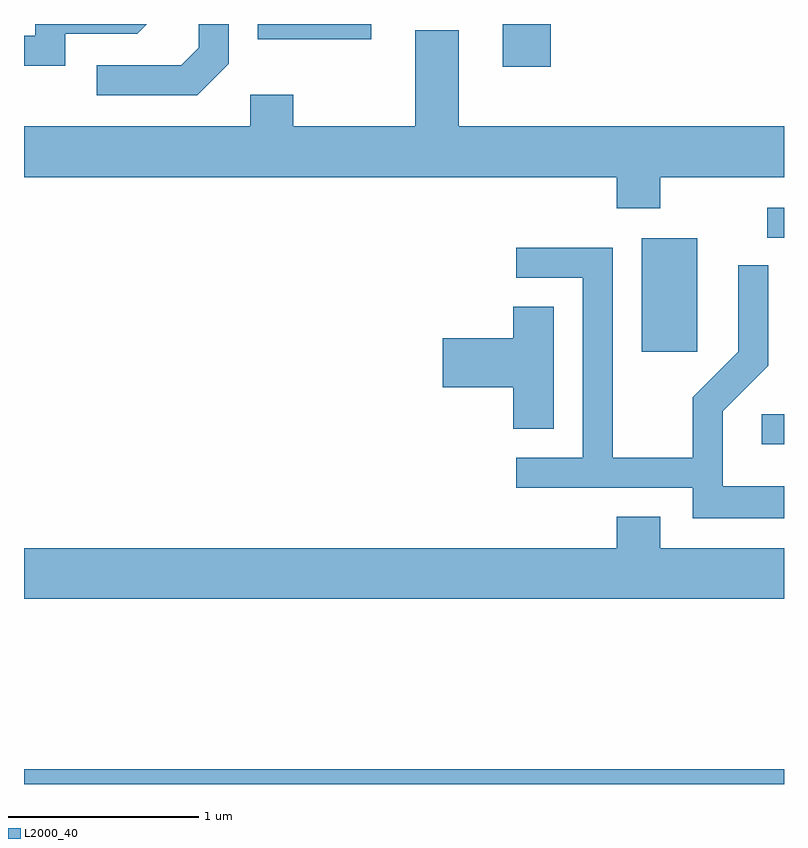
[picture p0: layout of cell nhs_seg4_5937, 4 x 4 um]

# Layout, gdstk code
import gdstk
lib = gdstk.Library(unit=1e-6, precision=1e-09)
def R(c, l, rs):  # rectangles x0, y0, x1, y1
    for r in rs: c.add(gdstk.rectangle(r[:2], r[2:], *l))
def P(c, l, *ps):  # polygons
    for p in ps: c.add(gdstk.Polygon(p, *l))
L2000_40 = (2000, 40)

nhs_seg4_5937 = lib.new_cell('nhs_seg4_5937')
R(nhs_seg4_5937, L2000_40, [(359.611,1295.982,363.611,1296.059), (363.493,1297.771,363.611,1297.929), (362.861,1298.256,363.154,1298.854), (363.523,1298.856,363.611,1299.014), (362.131,1299.756,362.384,1299.982), (360.841,1299.901,361.439,1299.982)])
P(nhs_seg4_5937, L2000_40, [(360.689,1299.774),(360.689,1299.982),(360.531,1299.982),(360.531,1299.857),(360.439,1299.764),(359.993,1299.764),(359.993,1299.606),(360.522,1299.606)],
  [(359.829,1299.931),(360.207,1299.931),(360.258,1299.982),(359.671,1299.982),(359.671,1299.919),(359.611,1299.919),(359.611,1299.761),(359.829,1299.761)],
  [(362.959,1299.176),(363.611,1299.176),(363.611,1299.444),(361.899,1299.444),(361.899,1299.949),(361.671,1299.949),(361.671,1299.444),(361.029,1299.444),(361.029,1299.609),(360.801,1299.609),(360.801,1299.444),(359.611,1299.444),(359.611,1299.176),(362.731,1299.176),(362.731,1299.011),(362.959,1299.011)],
  [(363.611,1297.549),(363.289,1297.549),(363.289,1297.944),(363.529,1298.184),(363.529,1298.713),(363.371,1298.713),(363.371,1298.257),(363.131,1298.017),(363.131,1297.699),(362.709,1297.699),(362.709,1298.804),(362.203,1298.804),(362.203,1298.646),(362.551,1298.646),(362.551,1297.699),(362.203,1297.699),(362.203,1297.541),(363.131,1297.541),(363.131,1297.381),(363.611,1297.381)],
  [(362.399,1298.494),(362.186,1298.494),(362.186,1298.329),(361.816,1298.329),(361.816,1298.071),(362.186,1298.071),(362.186,1297.851),(362.399,1297.851)],
  [(363.611,1297.224),(362.959,1297.224),(362.959,1297.389),(362.731,1297.389),(362.731,1297.224),(359.611,1297.224),(359.611,1296.956),(363.611,1296.956)])

lib.write_gds('nhs_seg4_5937.gds')
